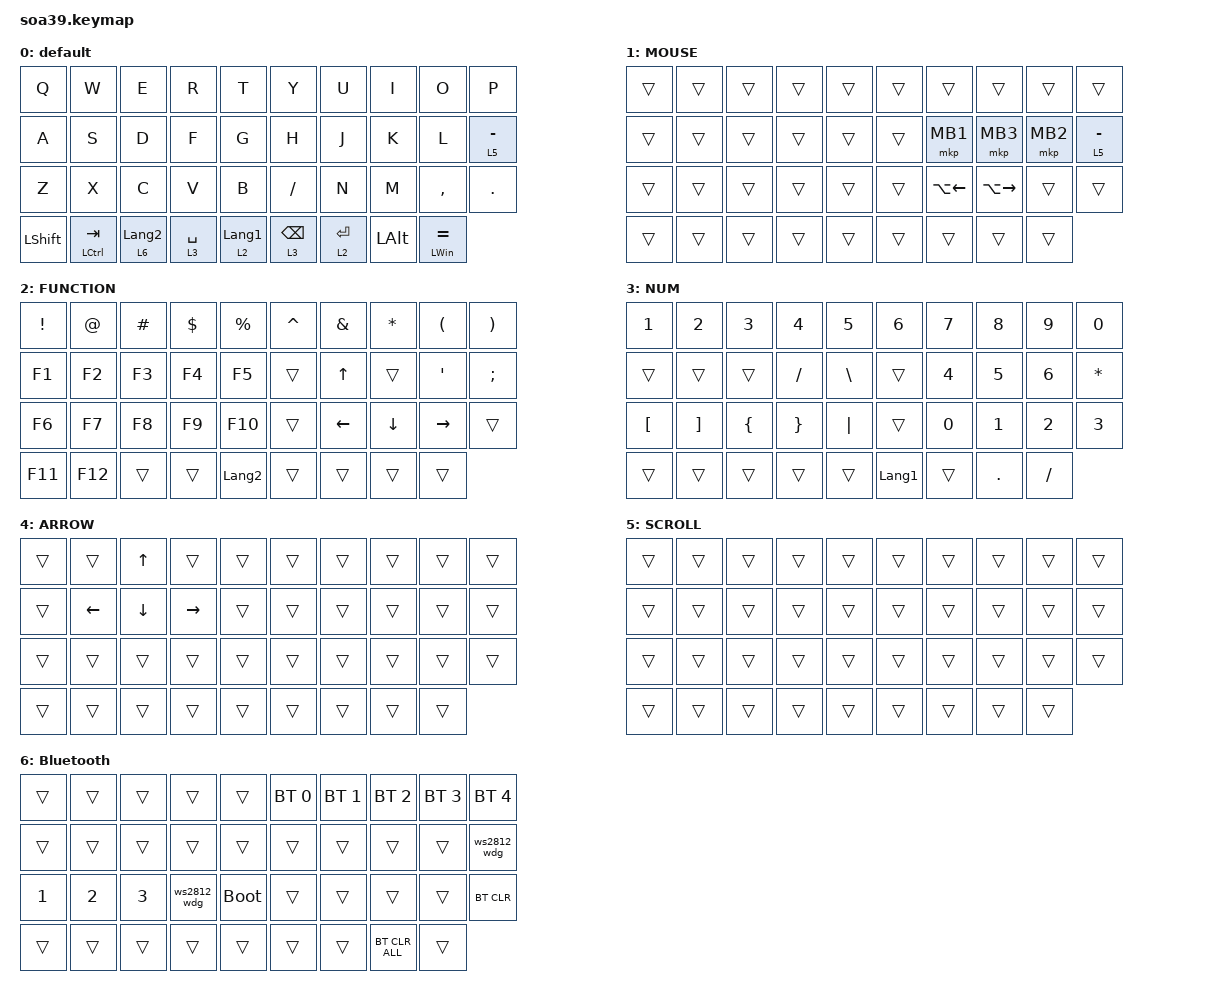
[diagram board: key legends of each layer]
#include <behaviors.dtsi>
#include <dt-bindings/zmk/bt.h>
#include <dt-bindings/zmk/keys.h>
#include <dt-bindings/zmk/pointing.h>

&mt {
    flavor = "balanced";
    quick-tap-ms = <0>;
};

&trackball {
    automouse-layer = <1>;
    scroll-layers = <5>;

    // arrows {
    //     layers = <3>;
    //     bindings =
    //         <&kp RIGHT_ARROW>,
    //         <&kp LEFT_ARROW>,
    //         <&kp UP_ARROW>,
    //         <&kp DOWN_ARROW>;
    //     tick = <10>;
    //     wait-ms = <5>;
    //     tap-ms = <5>;
    // };
};

/ {
    behaviors {
        // Temporary WS2812 widget behavior definition until external module is recognized

        ws2812_wdg: ws2812_widget {
            compatible = "zmk,behavior-macro";
            #binding-cells = <0>;
            bindings = <&none>; // Placeholder - will be replaced by actual WS2812 implementation
        };
    };

    combos {
        compatible = "zmk,combos";

        tab {
            bindings = <&kp TAB>;
            key-positions = <9 10>;
        };

        shift_tab {
            bindings = <&kp LS(TAB)>;
            key-positions = <10 11>;
        };

        muhennkann {
            bindings = <&to_layer_0 INT_MUHENKAN>;
            key-positions = <9 8>;
        };

        double_quotation {
            bindings = <&kp DOUBLE_QUOTES>;
            key-positions = <18 19>;
        };

        eq {
            bindings = <&kp EQUAL>;
            key-positions = <22 23>;
        };
    };

    macros {
        to_layer_0: to_layer_0 {
            compatible = "zmk,behavior-macro-one-param";
            #binding-cells = <1>;
            bindings = <&to 0 &macro_param_1to1 &kp MACRO_PLACEHOLDER>;
            label = "TO_LAYER_0";
        };
    };

    behaviors {
        lt_to_layer_0: lt_to_layer_0 {
            compatible = "zmk,behavior-hold-tap";
            label = "LAYER_TAP_TO_0";
            bindings = <&mo>, <&to_layer_0>;

            #binding-cells = <2>;
            tapping-term-ms = <200>;
        };
    };

    keymap {
        compatible = "zmk,keymap";

        default {
            bindings = <
&kp Q           &kp W          &kp E             &kp R        &kp T             &kp Y            &kp U        &kp I         &kp O               &kp P
&kp A           &kp S          &kp D             &kp F        &kp G             &kp H            &kp J        &kp K         &kp L               &lt 5 MINUS
&kp Z           &kp X          &kp C             &kp V        &kp B             &kp SLASH        &kp N        &kp M         &kp COMMA           &kp PERIOD
&kp LEFT_SHIFT  &mt LCTRL TAB  &lt 6 LANGUAGE_2  &lt 3 SPACE  &lt 2 LANGUAGE_1  &lt 3 BACKSPACE  &lt 2 ENTER  &kp LEFT_ALT  &mt LEFT_WIN EQUAL
            >;
        };

        MOUSE {
            bindings = <
&trans  &trans  &trans  &trans  &trans  &trans  &trans              &trans               &trans    &trans
&trans  &trans  &trans  &trans  &trans  &trans  &mkp MB1            &mkp MB3             &mkp MB2  &lt 5 MINUS
&trans  &trans  &trans  &trans  &trans  &trans  &kp LA(LEFT_ARROW)  &kp LA(RIGHT_ARROW)  &trans    &trans
&trans  &trans  &trans  &trans  &trans  &trans  &trans              &trans               &trans
            >;
        };

        FUNCTION {
            bindings = <
&kp EXCLAMATION  &kp AT_SIGN  &kp HASH  &kp DOLLAR  &kp PERCENT     &kp CARET  &kp AMPERSAND  &kp ASTERISK  &kp LEFT_PARENTHESIS  &kp RIGHT_PARENTHESIS
&kp F1           &kp F2       &kp F3    &kp F4      &kp F5          &trans     &kp UP         &trans        &kp SQT               &kp SEMICOLON
&kp F6           &kp F7       &kp F8    &kp F9      &kp F10         &trans     &kp LEFT       &kp DOWN      &kp RIGHT             &trans
&kp F11          &kp F12      &trans    &trans      &kp LANGUAGE_2  &trans     &trans         &trans        &trans
            >;
        };

        NUM {
            bindings = <
&kp N1            &kp N2             &kp N3          &kp N4           &kp N5         &kp N6          &kp N7  &kp N8      &kp N9     &kp N0
&trans            &trans             &trans          &kp SLASH        &kp BACKSLASH  &trans          &kp N4  &kp N5      &kp N6     &kp ASTERISK
&kp LEFT_BRACKET  &kp RIGHT_BRACKET  &kp LEFT_BRACE  &kp RIGHT_BRACE  &kp PIPE       &trans          &kp N0  &kp N1      &kp N2     &kp N3
&trans            &trans             &trans          &trans           &trans         &kp LANGUAGE_1  &trans  &kp PERIOD  &kp SLASH
            >;
        };

        ARROW {
            bindings = <
&trans  &trans    &kp UP    &trans     &trans  &trans  &trans  &trans  &trans  &trans
&trans  &kp LEFT  &kp DOWN  &kp RIGHT  &trans  &trans  &trans  &trans  &trans  &trans
&trans  &trans    &trans    &trans     &trans  &trans  &trans  &trans  &trans  &trans
&trans  &trans    &trans    &trans     &trans  &trans  &trans  &trans  &trans
            >;
        };

        SCROLL {
            bindings = <
&trans  &trans  &trans  &trans  &trans  &trans  &trans  &trans  &trans  &trans
&trans  &trans  &trans  &trans  &trans  &trans  &trans  &trans  &trans  &trans
&trans  &trans  &trans  &trans  &trans  &trans  &trans  &trans  &trans  &trans
&trans  &trans  &trans  &trans  &trans  &trans  &trans  &trans  &trans
            >;
        };

        Bluetooth {
            bindings = <
&trans        &trans        &trans        &trans       &trans       &bt BT_SEL 0  &bt BT_SEL 1  &bt BT_SEL 2    &bt BT_SEL 3  &bt BT_SEL 4
&trans        &trans        &trans        &trans       &trans       &trans        &trans        &trans          &trans        &ws2812_wdg
&kp NUMBER_1  &kp NUMBER_2  &kp NUMBER_3  &ws2812_wdg  &bootloader  &trans        &trans        &trans          &trans        &bt BT_CLR
&trans        &trans        &trans        &trans       &trans       &trans        &trans        &bt BT_CLR_ALL  &trans
            >;
        };
    };
};
